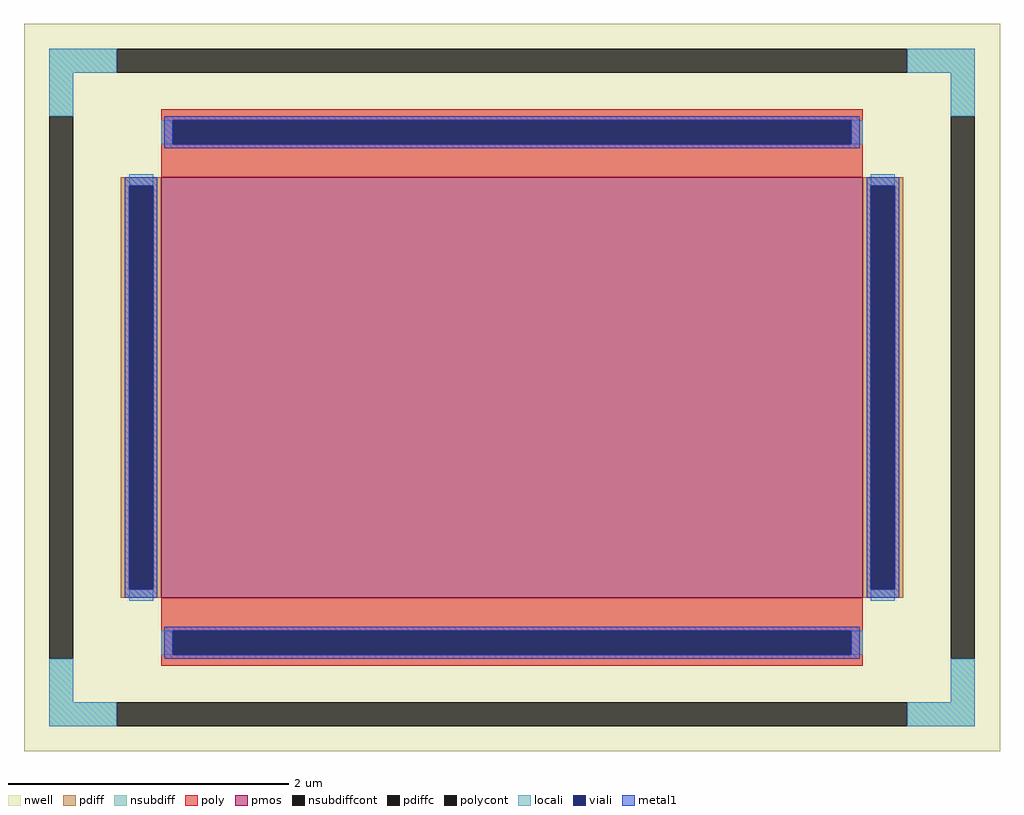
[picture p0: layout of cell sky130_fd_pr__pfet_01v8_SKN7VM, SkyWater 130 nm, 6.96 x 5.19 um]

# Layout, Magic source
magic
tech sky130A
magscale 1 2
<< nwell >>
rect -696 -519 696 519
<< pmos >>
rect -500 -300 500 300
<< pdiff >>
rect -558 288 -500 300
rect -558 -288 -546 288
rect -512 -288 -500 288
rect -558 -300 -500 -288
rect 500 288 558 300
rect 500 -288 512 288
rect 546 -288 558 288
rect 500 -300 558 -288
<< pdiffc >>
rect -546 -288 -512 288
rect 512 -288 546 288
<< nsubdiff >>
rect -660 449 -564 483
rect 564 449 660 483
rect -660 387 -626 449
rect 626 387 660 449
rect -660 -449 -626 -387
rect 626 -449 660 -387
rect -660 -483 -564 -449
rect 564 -483 660 -449
<< nsubdiffcont >>
rect -564 449 564 483
rect -660 -387 -626 387
rect 626 -387 660 387
rect -564 -483 564 -449
<< poly >>
rect -500 381 500 397
rect -500 347 -484 381
rect 484 347 500 381
rect -500 300 500 347
rect -500 -347 500 -300
rect -500 -381 -484 -347
rect 484 -381 500 -347
rect -500 -397 500 -381
<< polycont >>
rect -484 347 484 381
rect -484 -381 484 -347
<< locali >>
rect -660 449 -564 483
rect 564 449 660 483
rect -660 387 -626 449
rect 626 387 660 449
rect -500 347 -484 381
rect 484 347 500 381
rect -546 288 -512 304
rect -546 -304 -512 -288
rect 512 288 546 304
rect 512 -304 546 -288
rect -500 -381 -484 -347
rect 484 -381 500 -347
rect -660 -449 -626 -387
rect 626 -449 660 -387
rect -660 -483 -564 -449
rect 564 -483 660 -449
<< viali >>
rect -484 347 484 381
rect -546 -288 -512 288
rect 512 -288 546 288
rect -484 -381 484 -347
<< metal1 >>
rect -496 381 496 387
rect -496 347 -484 381
rect 484 347 496 381
rect -496 341 496 347
rect -552 288 -506 300
rect -552 -288 -546 288
rect -512 -288 -506 288
rect -552 -300 -506 -288
rect 506 288 552 300
rect 506 -288 512 288
rect 546 -288 552 288
rect 506 -300 552 -288
rect -496 -347 496 -341
rect -496 -381 -484 -347
rect 484 -381 496 -347
rect -496 -387 496 -381
<< properties >>
string FIXED_BBOX -643 -466 643 466
string gencell sky130_fd_pr__pfet_01v8
string library sky130
string parameters w 3.0 l 5.0 m 1 nf 1 diffcov 100 polycov 100 guard 1 glc 1 grc 1 gtc 1 gbc 1 tbcov 100 rlcov 100 topc 1 botc 1 poverlap 0 doverlap 1 lmin 0.15 wmin 0.42 compatible {sky130_fd_pr__pfet_01v8  sky130_fd_pr__pfet_01v8_lvt sky130_fd_pr__pfet_01v8_hvt  sky130_fd_pr__pfet_g5v0d10v5} full_metal 1 viasrc 100 viadrn 100 viagate 100 viagb 0 viagr 0 viagl 0 viagt 0
<< end >>
